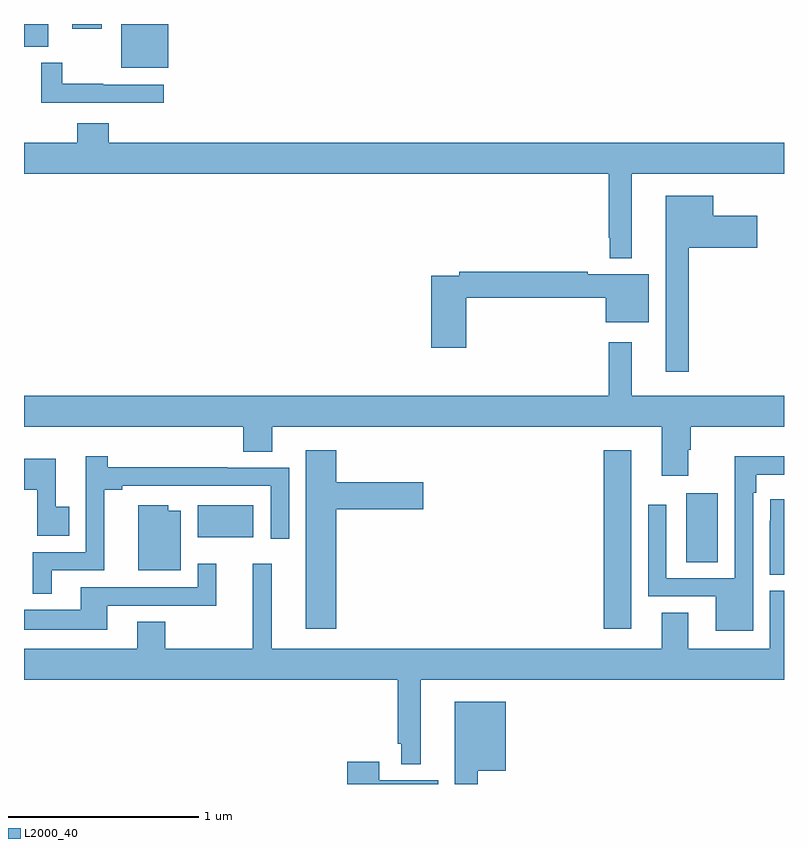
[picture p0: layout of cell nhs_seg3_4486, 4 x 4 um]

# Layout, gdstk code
import gdstk
lib = gdstk.Library(unit=1e-6, precision=1e-09)
def R(c, l, rs):  # rectangles x0, y0, x1, y1
    for r in rs: c.add(gdstk.rectangle(r[:2], r[2:], *l))
def P(c, l, *ps):  # polygons
    for p in ps: c.add(gdstk.Polygon(p, *l))
L2000_40 = (2000, 40)

nhs_seg3_4486 = lib.new_cell('nhs_seg3_4486')
R(nhs_seg3_4486, L2000_40, [(354.05,669.216,354.196,670.156), (354.485,669.568,354.652,669.931), (351.914,669.698,352.207,669.868), (351.512,672.17,351.76,672.4), (351,672.281,351.127,672.4), (351.255,672.375,351.409,672.4)])
P(nhs_seg3_4486, L2000_40, [(351.736,672.081),(351.416,672.081),(351.416,672.086),(351.202,672.086),(351.202,672.196),(351.092,672.196),(351.092,671.985),(351.736,671.985)],
  [(354.199,671.612),(355,671.612),(355,671.776),(351.446,671.776),(351.446,671.878),(351.281,671.878),(351.281,671.776),(351,671.776),(351,671.612),(354.078,671.612),(354.078,671.275),(354.084,671.275),(354.084,671.168),(354.199,671.168)],
  [(354.499,671.222),(354.859,671.222),(354.859,671.392),(354.628,671.392),(354.628,671.497),(354.377,671.497),(354.377,670.569),(354.499,670.569)],
  [(353.327,670.96),(354.062,670.96),(354.062,670.829),(354.289,670.829),(354.289,671.083),(353.966,671.083),(353.966,671.096),(353.29,671.096),(353.29,671.076),(353.144,671.076),(353.144,670.695),(353.327,670.695)],
  [(354.496,670.16),(354.509,670.16),(354.509,670.28),(355,670.28),(355,670.444),(354.199,670.444),(354.199,670.726),(354.078,670.726),(354.078,670.444),(351,670.444),(351,670.28),(352.154,670.28),(352.154,670.15),(352.306,670.15),(352.306,670.28),(354.356,670.28),(354.356,670.023),(354.496,670.023)],
  [(352.643,669.845),(353.101,669.845),(353.101,669.987),(352.643,669.987),(352.643,670.156),(352.484,670.156),(352.484,669.216),(352.643,669.216)],
  [(354.837,669.932),(354.853,669.932),(354.853,670.028),(355,670.028),(355,670.126),(354.741,670.126),(354.741,669.483),(354.381,669.483),(354.381,669.871),(354.285,669.871),(354.285,669.387),(354.641,669.387),(354.641,669.206),(354.837,669.206)],
  [(351.145,669.525),(351.422,669.525),(351.422,669.949),(351.517,669.949),(351.517,669.969),(352.299,669.969),(352.299,669.69),(352.395,669.69),(352.395,670.065),(352.07,670.065),(352.07,670.067),(351.44,670.067),(351.44,670.126),(351.324,670.126),(351.324,669.621),(351.047,669.621),(351.047,669.401),(351.145,669.401)],
  [(351.239,669.858),(351.166,669.858),(351.166,670.111),(351,670.111),(351,669.95),(351.069,669.95),(351.069,669.706),(351.239,669.706)],
  [(355,669.898),(354.927,669.898),(354.927,669.785),(354.926,669.785),(354.926,669.502),(355,669.502)],
  [(351.826,669.838),(351.76,669.838),(351.76,669.868),(351.602,669.868),(351.602,669.524),(351.826,669.524)],
  [(353.089,668.948),(355,668.948),(355,669.417),(354.926,669.417),(354.926,669.112),(354.496,669.112),(354.496,669.302),(354.356,669.302),(354.356,669.112),(352.304,669.112),(352.304,669.559),(352.205,669.559),(352.205,669.112),(351.744,669.112),(351.744,669.254),(351.596,669.254),(351.596,669.112),(351,669.112),(351,668.948),(352.968,668.948),(352.968,668.611),(352.985,668.611),(352.985,668.504),(353.089,668.504)],
  [(351.439,669.339),(352.013,669.339),(352.013,669.559),(351.915,669.559),(351.915,669.435),(351.299,669.435),(351.299,669.316),(351,669.316),(351,669.212),(351.439,669.212)],
  [(353.389,668.471),(353.536,668.471),(353.536,668.833),(353.267,668.833),(353.267,668.4),(353.389,668.4)],
  [(353.179,668.419),(352.87,668.419),(352.87,668.518),(352.7,668.518),(352.7,668.4),(353.179,668.4)])

lib.write_gds('nhs_seg3_4486.gds')
